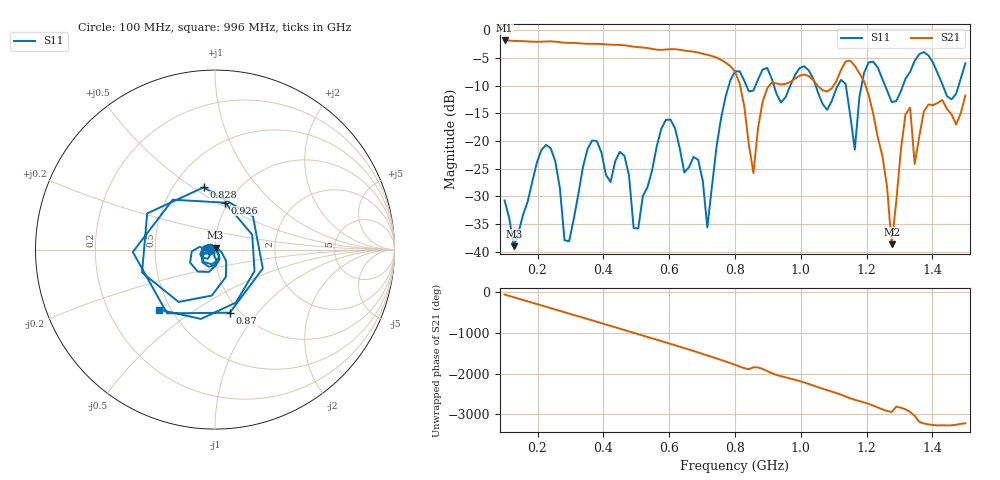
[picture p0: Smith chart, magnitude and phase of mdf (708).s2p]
! NanoVNA-App
! Date: 2025-09-25 15:43:55
! Start: 100MHz Stop: 1,5GHz Points: 101
! S-Parameter data: F S11 S21 S12 S22
# Hz S RI R 50
!  Frequency  S11_Real  S11_Imag  S21_Real  S21_Imag  S12_Real  S12_Imag  S22_Real  S22_Imag
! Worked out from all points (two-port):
!   101 points, 100 MHz to 1.5 GHz, reference 50 ohm
!   highest |S21| = -1.80 dB at 100 MHz (marker M1); lowest = -38.7 dB at 1.276 GHz (marker M2)
!   |S21| within 3 dB of the highest: start of sweep to 739.3 MHz
!   lowest |S11| = -39.0 dB at 128 MHz (marker M3), VSWR 1.02, Z = 50.3 + j1.08 ohm
!   |S11| at or under -10 dB: start of sweep to 781 MHz; 1.045 GHz to 1.112 GHz (67.02 MHz wide, 6.21 % of centre); 1.256 GHz to 1.31 GHz (53.82 MHz wide, 4.19 % of centre) (the widest 3 of 7)
!   S12 and S22 are empty: the file has one direction only
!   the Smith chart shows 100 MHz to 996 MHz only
!   S11 on the Smith chart (normalised r, x): 100 MHz: 0.94, -0.01; 828 MHz: 0.70, +0.56; 870 MHz: 0.90, -0.73; 926 MHz: 0.97, +0.55; 996 MHz: 0.43, -0.37
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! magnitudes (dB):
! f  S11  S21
! 100 MHz  -30.7  -1.8
! 128 MHz  -39.0  -1.9
! 212 MHz  -21.6  -2.0
! 282 MHz  -37.9  -2.2
! 338 MHz  -24.7  -2.4
! 464 MHz  -22.6  -2.7
! 506 MHz  -35.8  -3.0
! 576 MHz  -17.8  -3.5
! 716 MHz  -35.6  -4.4
! 800 MHz  -7.4  -7.4
! 828 MHz  -9.1  -13.6
! 856 MHz  -10.9  -25.8
! 870 MHz  -8.8  -17.6
! 926 MHz  -11.5  -9.6
! 996 MHz  -6.8  -8.2
! 1.038 GHz  -8.7  -9.0
! 1.164 GHz  -21.5  -6.4
! 1.192 GHz  -7.7  -9.2
! 1.276 GHz  -12.9  -38.7
! 1.318 GHz  -8.7  -15.1
! 1.346 GHz  -5.5  -24.1
! 1.5 GHz  -5.9  -11.7
